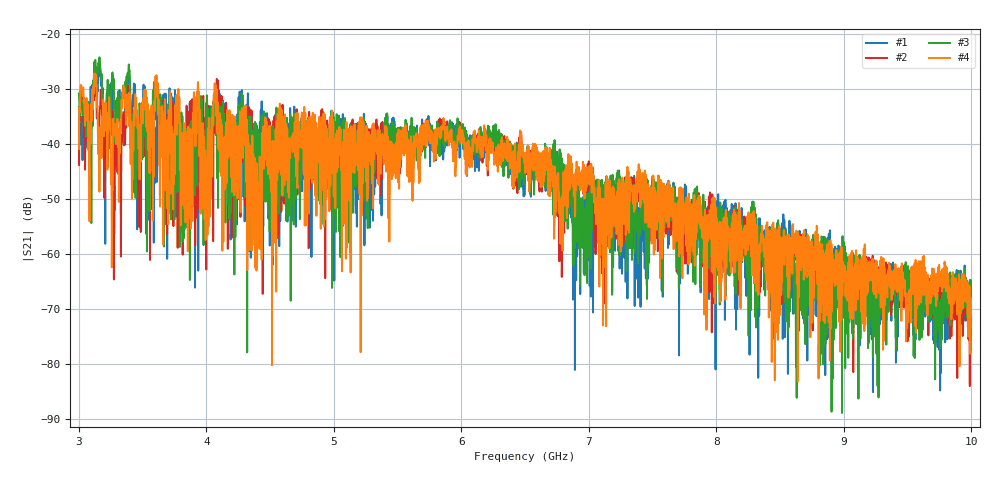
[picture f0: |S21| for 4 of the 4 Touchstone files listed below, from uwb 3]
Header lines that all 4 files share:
!Agilent Technologies,E8363B,MY43030572,A.06.04.32
!Agilent E8363B: A.06.04.32
!Correction: S11(Full 2 Port(1,2)) S21(Full 2 Port(1,2)) S12(Full 2 Port(1,2)) S22(Full 2 Port(1,2))
!S2P File: Measurements: S11, S21, S12, S22:
# Hz S  dB  R 50
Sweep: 3 GHz to 10 GHz
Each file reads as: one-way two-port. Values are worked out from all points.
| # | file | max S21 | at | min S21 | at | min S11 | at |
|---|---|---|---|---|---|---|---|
| 1 | 11s13.s2p | -25.39 dB | 3.161 GHz | -85.1 dB | 9.23 GHz | -66.0 dB | 7.45 GHz |
| 2 | 11s14.s2p | -28.07 dB | 3.123 GHz | -84.0 dB | 9.99 GHz | -68.6 dB | 6.945 GHz |
| 3 | 11s23.s2p | -24.28 dB | 3.161 GHz | -88.8 dB | 8.987 GHz | -67.6 dB | 6.654 GHz |
| 4 | 11s24.s2p | -27.21 dB | 3.121 GHz | -83.1 dB | 8.64 GHz | -65.7 dB | 6.654 GHz |
